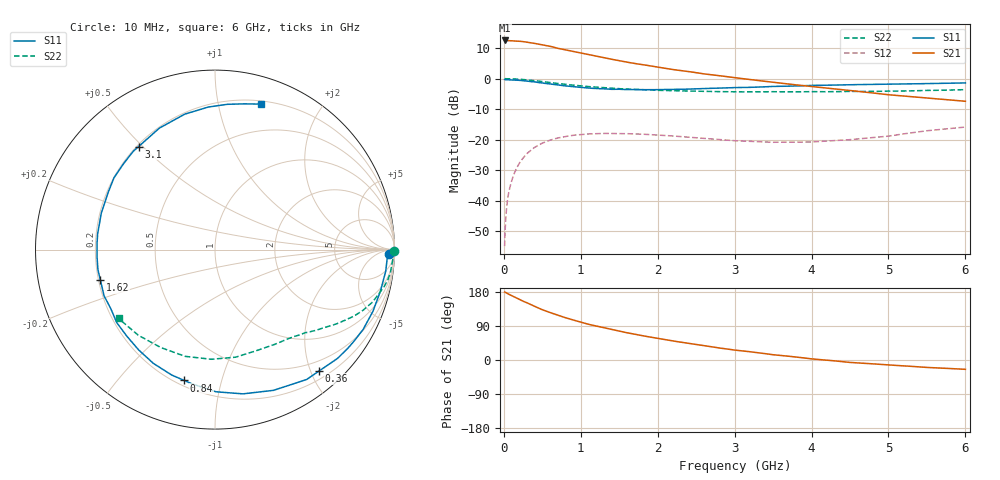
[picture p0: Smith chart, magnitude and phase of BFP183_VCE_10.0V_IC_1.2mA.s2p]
! Infineon Technologies  Discrete & RF Semiconductors
! BFP183
! VCE = 10.0V,  IC =  1.2 mA
! Common Emitter S-Parameters:  Jan 2016
# GHz  S  MA  R  50
!  f  S11  S21  S12  S22
! GHz  MAG  ANG  MAG  ANG  MAG  ANG  MAG  ANG
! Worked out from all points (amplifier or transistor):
!   210 points, 10 MHz to 6 GHz, reference 50 ohm
!   highest |S21| = 12.5 dB at 10 MHz (marker M1)
!   |S21| within 3 dB of that: start of sweep to 789.7 MHz
!   unconditionally stable (mu >= 1): 2.45 GHz to end of sweep
!   at 185 MHz: K = 0.07, MSG = 20.4 dB, |S12| = -28.5 dB
!   at 1.52 GHz: K = 0.59, MSG = 11.9 dB, |S12| = -18.0 dB
!   at 6 GHz: K = 1.00, MAG = 3.9 dB, |S12| = -15.9 dB
!   S11 on the Smith chart (normalised r, x): 10 MHz: 41, -28; 360 MHz: 0.33, -2.13; 840 MHz: 0.23, -0.76; 1.62 GHz: 0.21, -0.13; 3.1 GHz: 0.21, +0.49; 6 GHz: 0.23, +1.34
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0.01  0.9675 -1.3  4.215 179.3  0.0018 85.8  0.9995 -0.5
0.02  0.9608 -2.9  4.195 178.6  0.004 84.0  0.9958 -1.1
0.04  0.9588 -5.8  4.192 176.2  0.0086 86.5  0.9945 -2.0
0.09  0.9508 -12.8  4.171 171.1  0.0188 81.4  0.9891 -4.5
0.155  0.9434 -22.1  4.114 164.5  0.0319 76.5  0.9846 -7.7
0.24  0.9268 -33.8  4.049 156.1  0.0481 69.8  0.9682 -11.7
0.36  0.8909 -49.4  3.834 145.3  0.0683 60.6  0.9348 -16.7
0.4  0.8856 -54.8  3.774 141.3  0.0747 58.0  0.9253 -18.4
0.5  0.8493 -67.4  3.575 132.7  0.0876 50.9  0.8932 -22.1
0.6  0.8188 -79.0  3.394 125.2  0.0981 44.8  0.8622 -25.2
0.7  0.7921 -89.6  3.137 118.2  0.1064 39.3  0.8315 -27.9
0.84  0.7488 -103.3  2.889 109.3  0.1147 32.6  0.7958 -31.2
1.02  0.7158 -120.2  2.587 98.7  0.1218 25.3  0.7555 -34.8
1.3  0.682 -143.4  2.195 84.9  0.1265 16.1  0.7096 -39.7
1.62  0.6605 -165.1  1.841 71.2  0.1251 8.6  0.673 -44.5
2.02  0.6593 171.4  1.528 56.3  0.1185 2.6  0.6424 -50.5
2.6  0.6905 144.6  1.196 37.9  0.1049 -1.0  0.617 -60.7
3.1  0.7147 126.6  1 24.1  0.0949 1.0  0.6068 -70.7
3.5  0.7444 114.6  0.871 13.9  0.0906 5.5  0.6102 -79.2
4.1  0.7757 100.6  0.719 1.3  0.0933 15.5  0.6097 -94.6
5.1  0.8146 83.9  0.531 -14.3  0.1193 27.0  0.6244 -121.5
6  0.8495 72.6  0.425 -24.6  0.1607 23.9  0.6602 -144.5
